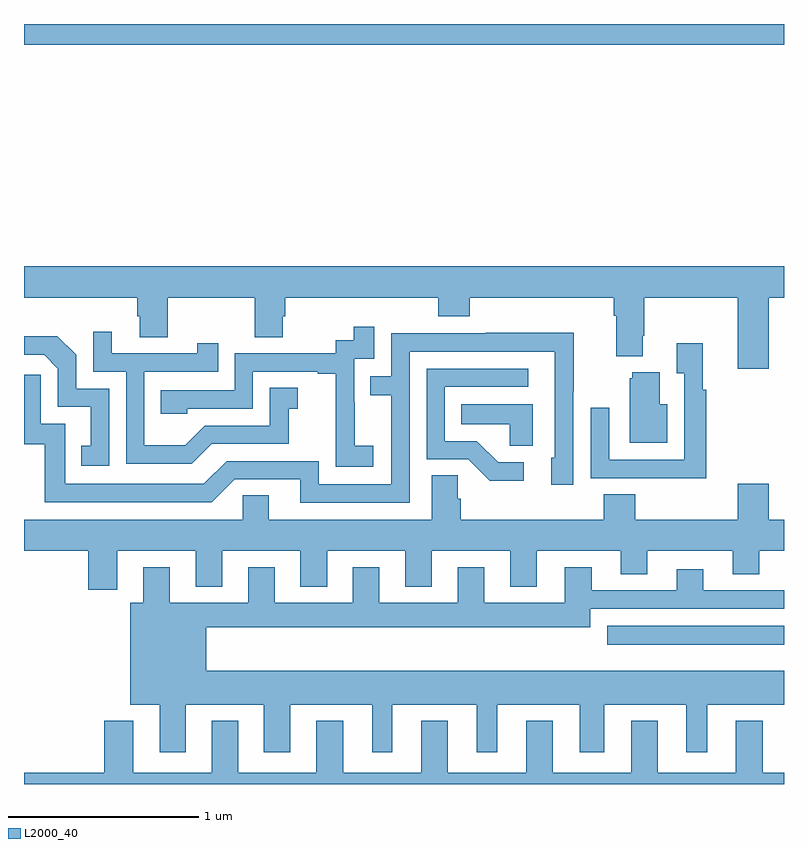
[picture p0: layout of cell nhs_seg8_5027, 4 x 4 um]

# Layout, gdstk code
import gdstk
lib = gdstk.Library(unit=1e-6, precision=1e-09)
def R(c, l, rs):  # rectangles x0, y0, x1, y1
    for r in rs: c.add(gdstk.rectangle(r[:2], r[2:], *l))
def P(c, l, *ps):  # polygons
    for p in ps: c.add(gdstk.Polygon(p, *l))
L2000_40 = (2000, 40)

nhs_seg8_5027 = lib.new_cell('nhs_seg8_5027')
R(nhs_seg8_5027, L2000_40, [(416.07,1154.633,417,1154.734), (413,1157.792,417,1157.9)])
P(nhs_seg8_5027, L2000_40, [(416.92,1156.46),(417,1156.46),(417,1156.624),(413,1156.624),(413,1156.46),(413.597,1156.46),(413.597,1156.362),(413.609,1156.362),(413.609,1156.252),(413.757,1156.252),(413.757,1156.46),(414.214,1156.46),(414.214,1156.252),(414.361,1156.252),(414.361,1156.362),(414.374,1156.362),(414.374,1156.46),(415.181,1156.46),(415.181,1156.361),(415.346,1156.361),(415.346,1156.46),(416.105,1156.46),(416.105,1156.364),(416.117,1156.364),(416.117,1156.151),(416.257,1156.151),(416.257,1156.258),(416.265,1156.258),(416.265,1156.46),(416.756,1156.46),(416.756,1156.086),(416.92,1156.086)],
  [(414.838,1155.679),(414.74,1155.679),(414.74,1155.908),(414.738,1155.908),(414.738,1156.137),(414.843,1156.137),(414.843,1156.306),(414.735,1156.306),(414.735,1156.236),(414.642,1156.236),(414.642,1156.167),(414.108,1156.167),(414.108,1155.972),(413.719,1155.972),(413.719,1155.849),(413.859,1155.849),(413.859,1155.876),(414.204,1155.876),(414.204,1156.071),(414.545,1156.071),(414.545,1156.059),(414.641,1156.059),(414.641,1155.775),(414.64,1155.775),(414.64,1155.569),(414.838,1155.569)],
  [(413.989,1155.69),(414.393,1155.69),(414.393,1155.875),(414.442,1155.875),(414.442,1155.985),(414.294,1155.985),(414.294,1155.786),(413.952,1155.786),(413.848,1155.682),(413.634,1155.682),(413.634,1156.071),(414.023,1156.071),(414.023,1156.219),(413.912,1156.219),(413.912,1156.167),(413.461,1156.167),(413.461,1156.279),(413.364,1156.279),(413.364,1156.071),(413.538,1156.071),(413.538,1155.585),(413.884,1155.585)],
  [(415.029,1156.176),(415.794,1156.176),(415.794,1155.618),(415.775,1155.618),(415.775,1155.474),(415.89,1155.474),(415.89,1155.967),(415.893,1155.967),(415.893,1156.274),(415.429,1156.274),(415.429,1156.272),(414.933,1156.272),(414.933,1156.047),(414.823,1156.047),(414.823,1155.946),(414.933,1155.946),(414.933,1155.477),(414.552,1155.477),(414.552,1155.6),(414.066,1155.6),(413.946,1155.48),(413.217,1155.48),(413.217,1155.795),(413.088,1155.795),(413.088,1156.054),(413,1156.054),(413,1155.687),(413.109,1155.687),(413.109,1155.384),(413.988,1155.384),(414.108,1155.504),(414.455,1155.504),(414.455,1155.381),(415.029,1155.381)],
  [(413.448,1155.981),(413.274,1155.981),(413.274,1156.158),(413.176,1156.256),(413,1156.256),(413,1156.158),(413.106,1156.158),(413.178,1156.086),(413.178,1155.885),(413.351,1155.885),(413.351,1155.681),(413.302,1155.681),(413.302,1155.576),(413.448,1155.576)],
  [(416.591,1155.974),(416.573,1155.974),(416.573,1156.219),(416.435,1156.219),(416.435,1156.063),(416.475,1156.063),(416.475,1155.606),(416.079,1155.606),(416.079,1155.88),(415.983,1155.88),(415.983,1155.51),(416.299,1155.51),(416.299,1155.509),(416.591,1155.509)],
  [(415.63,1155.594),(415.495,1155.594),(415.384,1155.705),(415.215,1155.705),(415.215,1155.99),(415.654,1155.99),(415.654,1156.086),(415.119,1156.086),(415.119,1155.609),(415.338,1155.609),(415.451,1155.497),(415.63,1155.497)],
  [(416.386,1155.898),(416.347,1155.898),(416.347,1156.066),(416.201,1156.066),(416.201,1156.035),(416.189,1156.035),(416.189,1155.695),(416.386,1155.695)],
  [(415.678,1155.898),(415.3,1155.898),(415.3,1155.794),(415.557,1155.794),(415.557,1155.679),(415.678,1155.679)],
  [(413.491,1155.128),(413.903,1155.128),(413.903,1154.939),(414.043,1154.939),(414.043,1155.128),(414.455,1155.128),(414.455,1154.939),(414.595,1154.939),(414.595,1155.128),(415.007,1155.128),(415.007,1154.939),(415.147,1154.939),(415.147,1155.128),(415.559,1155.128),(415.559,1154.939),(415.699,1154.939),(415.699,1155.128),(416.141,1155.128),(416.141,1155.004),(416.281,1155.004),(416.281,1155.128),(416.729,1155.128),(416.729,1155.004),(416.869,1155.004),(416.869,1155.128),(417,1155.128),(417,1155.292),(416.92,1155.292),(416.92,1155.481),(416.756,1155.481),(416.756,1155.292),(416.216,1155.292),(416.216,1155.425),(416.051,1155.425),(416.051,1155.292),(415.298,1155.292),(415.298,1155.401),(415.284,1155.401),(415.284,1155.524),(415.145,1155.524),(415.145,1155.292),(414.289,1155.292),(414.289,1155.419),(414.15,1155.419),(414.15,1155.292),(413,1155.292),(413,1155.128),(413.339,1155.128),(413.339,1154.922),(413.491,1154.922)],
  [(413.851,1154.318),(414.263,1154.318),(414.263,1154.067),(414.4,1154.067),(414.4,1154.318),(414.833,1154.318),(414.833,1154.067),(414.937,1154.067),(414.937,1154.318),(415.382,1154.318),(415.382,1154.067),(415.492,1154.067),(415.492,1154.318),(415.925,1154.318),(415.925,1154.067),(416.053,1154.067),(416.053,1154.318),(416.486,1154.318),(416.486,1154.067),(416.596,1154.067),(416.596,1154.318),(417,1154.318),(417,1154.497),(413.959,1154.497),(413.959,1154.726),(415.981,1154.726),(415.981,1154.823),(417,1154.823),(417,1154.919),(416.575,1154.919),(416.575,1155.031),(416.435,1155.031),(416.435,1154.919),(415.987,1154.919),(415.987,1155.04),(415.847,1155.04),(415.847,1154.854),(415.423,1154.854),(415.423,1155.04),(415.283,1155.04),(415.283,1154.854),(414.871,1154.854),(414.871,1155.04),(414.731,1155.04),(414.731,1154.854),(414.319,1154.854),(414.319,1155.04),(414.179,1155.04),(414.179,1154.854),(413.767,1154.854),(413.767,1155.04),(413.627,1155.04),(413.627,1154.854),(413.558,1154.854),(413.558,1154.318),(413.714,1154.318),(413.714,1154.067),(413.851,1154.067)],
  [(417,1153.96),(416.887,1153.96),(416.887,1154.233),(416.747,1154.233),(416.747,1153.96),(416.335,1153.96),(416.335,1154.233),(416.195,1154.233),(416.195,1153.96),(415.783,1153.96),(415.783,1154.233),(415.643,1154.233),(415.643,1153.96),(415.231,1153.96),(415.231,1154.233),(415.091,1154.233),(415.091,1153.96),(414.679,1153.96),(414.679,1154.233),(414.539,1154.233),(414.539,1153.96),(414.127,1153.96),(414.127,1154.233),(413.987,1154.233),(413.987,1153.96),(413.575,1153.96),(413.575,1154.233),(413.423,1154.233),(413.423,1153.96),(413,1153.96),(413,1153.9),(417,1153.9)])

lib.write_gds('nhs_seg8_5027.gds')
